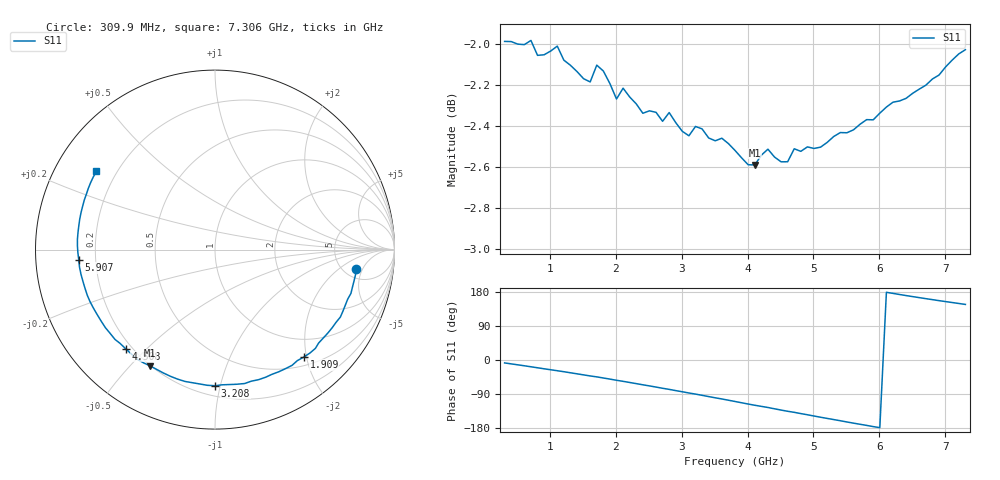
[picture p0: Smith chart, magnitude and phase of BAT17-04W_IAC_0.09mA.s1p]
! Infineon Technologies  Discrete & RF Semiconductors
! BAT17-04W
! IAC = 0.09 mA
! One-Port S-Parameters
# Hz  S  MA  R  50
!f  S11
!Hz  Mag  Ang
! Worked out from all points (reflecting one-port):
!   71 points, 309.9 MHz to 7.306 GHz, reference 50 ohm
!   lowest |S11| = -2.6 dB at 4.108 GHz (marker M1), VSWR 6.76, Z = 9.85 - j28.4 ohm
!   phase of S11 starts at -8 deg and turns -206 deg over the sweep
!   S11 on the Smith chart (normalised r, x): 309.9 MHz: 6.53, -3.79; 1.909 GHz: 0.65, -1.95; 3.208 GHz: 0.27, -0.96; 4.508 GHz: 0.18, -0.43; 5.907 GHz: 0.14, -0.04; 7.306 GHz: 0.13, +0.30
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3.0985e8  0.7953 -7.7
7.0965e8  0.7957 -17.9
1.10945e9  0.7932 -28.3
1.2094e9  0.787 -30.9
1.6092e9  0.7774 -42.1
1.70915e9  0.7848 -44.5
1.90905e9  0.7767 -50.4
2.009e9  0.7701 -53.5
2.10895e9  0.7747 -56.3
2.6087e9  0.7643 -71.4
2.8086e9  0.7642 -77.5
3.0085e9  0.7562 -83.8
3.2084e9  0.7583 -90.0
3.6082e9  0.7533 -102.8
3.8081e9  0.7482 -109.5
4.10795e9  0.7421 -119.4
4.30785e9  0.7487 -125.3
4.50775e9  0.7435 -132.1
4.70765e9  0.7489 -138.1
4.90755e9  0.7497 -144.5
5.2074e9  0.7516 -154.1
5.4073e9  0.7557 -160.3
5.6072e9  0.7569 -166.6
5.90705e9  0.7611 -175.7
6.2069e9  0.7687 175.8
6.50675e9  0.7725 167.3
7.0065e9  0.784 154.2
7.30635e9  0.7916 146.6
